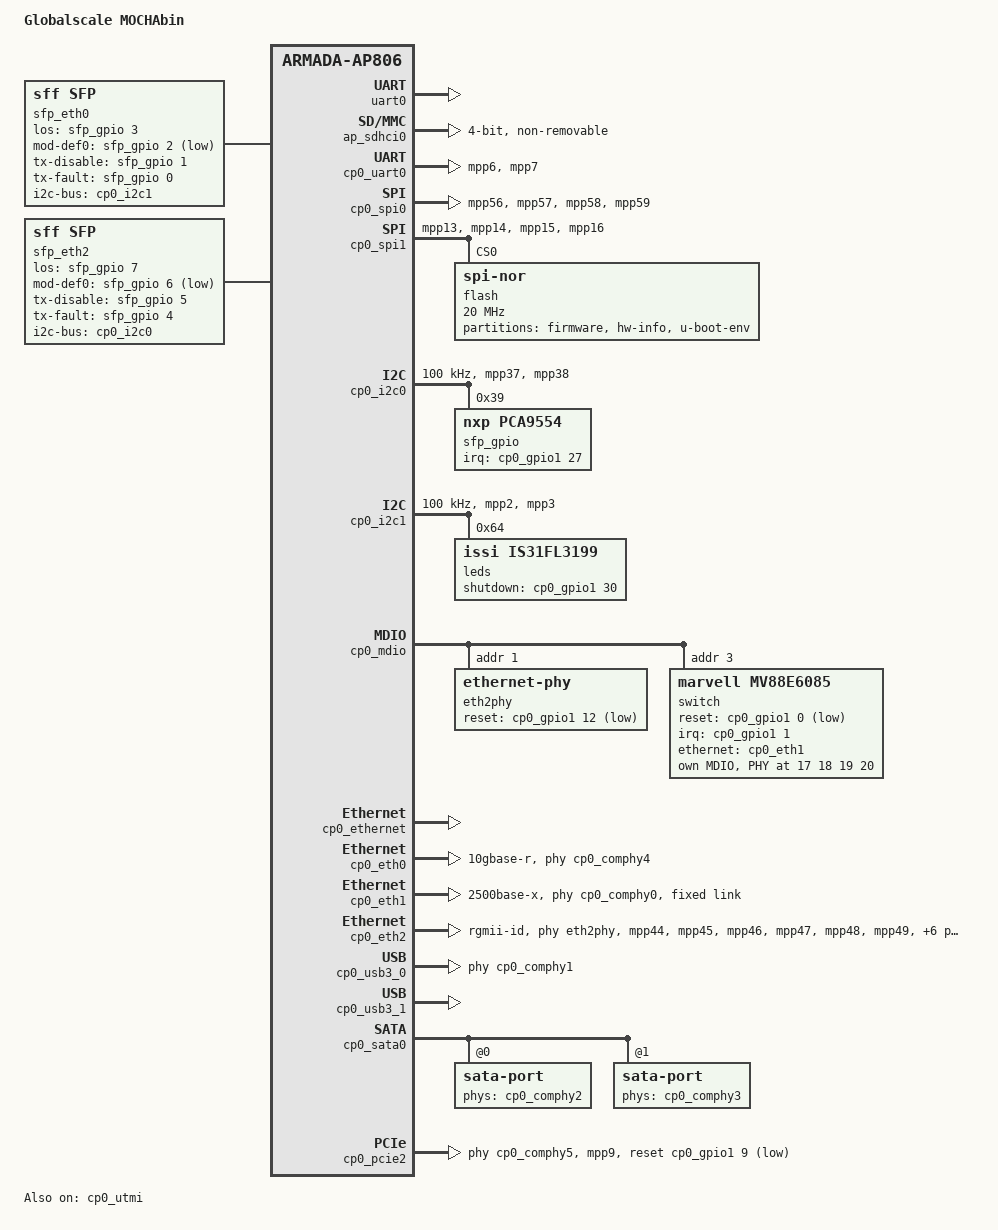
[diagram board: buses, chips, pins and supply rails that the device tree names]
// SPDX-License-Identifier: GPL-2.0-or-later OR MIT
/*
 * Device Tree file for Globalscale MOCHAbin
 * Copyright (C) 2019 Globalscale technologies, Inc.
 * Copyright (C) 2021 Sartura Ltd.
 *
 */

/dts-v1/;

#include <dt-bindings/gpio/gpio.h>
#include "armada-7040.dtsi"

/ {
	model = "Globalscale MOCHAbin";
	compatible = "globalscale,mochabin", "marvell,armada7040",
		     "marvell,armada-ap806-quad", "marvell,armada-ap806";

	chosen {
		stdout-path = "serial0:115200n8";
	};

	aliases {
		ethernet0 = &cp0_eth0;
		ethernet1 = &cp0_eth1;
		ethernet2 = &cp0_eth2;
		ethernet3 = &swport1;
		ethernet4 = &swport2;
		ethernet5 = &swport3;
		ethernet6 = &swport4;
	};

	/* SFP+ 10G */
	sfp_eth0: sfp-eth0 {
		compatible = "sff,sfp";
		i2c-bus = <&cp0_i2c1>;
		los-gpios = <&sfp_gpio 3 GPIO_ACTIVE_HIGH>;
		mod-def0-gpios = <&sfp_gpio 2 GPIO_ACTIVE_LOW>;
		tx-disable-gpios = <&sfp_gpio 1 GPIO_ACTIVE_HIGH>;
		tx-fault-gpios = <&sfp_gpio 0 GPIO_ACTIVE_HIGH>;
	};

	/* SFP 1G */
	sfp_eth2: sfp-eth2 {
		compatible = "sff,sfp";
		i2c-bus = <&cp0_i2c0>;
		los-gpios = <&sfp_gpio 7 GPIO_ACTIVE_HIGH>;
		mod-def0-gpios = <&sfp_gpio 6 GPIO_ACTIVE_LOW>;
		tx-disable-gpios = <&sfp_gpio 5 GPIO_ACTIVE_HIGH>;
		tx-fault-gpios = <&sfp_gpio 4 GPIO_ACTIVE_HIGH>;
	};
};

/* microUSB UART console */
&uart0 {
	status = "okay";

	pinctrl-0 = <&uart0_pins>;
	pinctrl-names = "default";
};

/* eMMC */
&ap_sdhci0 {
	status = "okay";

	bus-width = <4>;
	non-removable;
	/delete-property/ marvell,xenon-phy-slow-mode;
	no-1-8-v;
};

&cp0_pinctrl {
	cp0_uart0_pins: cp0-uart0-pins {
		marvell,pins = "mpp6", "mpp7";
		marvell,function = "uart0";
	};

	cp0_spi0_pins: cp0-spi0-pins {
		marvell,pins = "mpp56", "mpp57", "mpp58", "mpp59";
		marvell,function = "spi0";
	};

	cp0_spi1_pins: cp0-spi1-pins {
		marvell,pins = "mpp13", "mpp14", "mpp15", "mpp16";
		marvell,function = "spi1";
	};

	cp0_i2c0_pins: cp0-i2c0-pins {
		marvell,pins = "mpp37", "mpp38";
		marvell,function = "i2c0";
	};

	cp0_i2c1_pins: cp0-i2c1-pins {
		marvell,pins = "mpp2", "mpp3";
		marvell,function = "i2c1";
	};

	pca9554_int_pins: pca9554-int-pins {
		marvell,pins = "mpp27";
		marvell,function = "gpio";
	};

	cp0_rgmii1_pins: cp0-rgmii1-pins {
		marvell,pins = "mpp44", "mpp45", "mpp46", "mpp47", "mpp48", "mpp49",
			       "mpp50", "mpp51", "mpp52", "mpp53", "mpp54", "mpp55";
		marvell,function = "ge1";
	};

	is31_sdb_pins: is31-sdb-pins {
		marvell,pins = "mpp30";
		marvell,function = "gpio";
	};

	cp0_pcie_reset_pins: cp0-pcie-reset-pins {
		marvell,pins = "mpp9";
		marvell,function = "gpio";
	};

	cp0_pcie_clkreq_pins: cp0-pcie-clkreq-pins {
		marvell,pins = "mpp5";
		marvell,function = "pcie1";
	};

	cp0_switch_pins: cp0-switch-pins {
		marvell,pins = "mpp0", "mpp1";
		marvell,function = "gpio";
	};

	cp0_phy_pins: cp0-phy-pins {
		marvell,pins = "mpp12";
		marvell,function = "gpio";
	};
};

/* mikroBUS UART */
&cp0_uart0 {
	status = "okay";

	pinctrl-names = "default";
	pinctrl-0 = <&cp0_uart0_pins>;
};

/* mikroBUS SPI */
&cp0_spi0 {
	status = "okay";

	pinctrl-names = "default";
	pinctrl-0 = <&cp0_spi0_pins>;
};

/* SPI-NOR */
&cp0_spi1 {
	status = "okay";

	pinctrl-names = "default";
	pinctrl-0 = <&cp0_spi1_pins>;

	flash@0 {
		#address-cells = <1>;
		#size-cells = <1>;
		compatible = "jedec,spi-nor";
		reg = <0>;
		spi-max-frequency = <20000000>;

		partitions {
			compatible = "fixed-partitions";
			#address-cells = <1>;
			#size-cells = <1>;

			partition@0 {
				label = "firmware";
				reg = <0x0 0x3e0000>;
				read-only;
			};

			partition@3e0000 {
				label = "hw-info";
				reg = <0x3e0000 0x10000>;
				read-only;
			};

			partition@3f0000 {
				label = "u-boot-env";
				reg = <0x3f0000 0x10000>;
			};
		};
	};
};

/* mikroBUS, 1G SFP and GPIO expander */
&cp0_i2c0 {
	status = "okay";

	pinctrl-names = "default";
	pinctrl-0 = <&cp0_i2c0_pins>;
	clock-frequency = <100000>;

	sfp_gpio: pca9554@39 {
		compatible = "nxp,pca9554";
		pinctrl-names = "default";
		pinctrl-0 = <&pca9554_int_pins>;
		reg = <0x39>;

		interrupt-parent = <&cp0_gpio1>;
		interrupts = <27 IRQ_TYPE_LEVEL_LOW>;
		interrupt-controller;
		#interrupt-cells = <2>;

		gpio-controller;
		#gpio-cells = <2>;

		/*
		 * IO0_0: SFP+_TX_FAULT
		 * IO0_1: SFP+_TX_DISABLE
		 * IO0_2: SFP+_PRSNT
		 * IO0_3: SFP+_LOSS
		 * IO0_4: SFP_TX_FAULT
		 * IO0_5: SFP_TX_DISABLE
		 * IO0_6: SFP_PRSNT
		 * IO0_7: SFP_LOSS
		 */
	};
};

/* IS31FL3199, mini-PCIe and 10G SFP+ */
&cp0_i2c1 {
	status = "okay";

	pinctrl-names = "default";
	pinctrl-0 = <&cp0_i2c1_pins>;
	clock-frequency = <100000>;

	leds@64 {
		compatible = "issi,is31fl3199";
		#address-cells = <1>;
		#size-cells = <0>;
		pinctrl-names = "default";
		pinctrl-0 = <&is31_sdb_pins>;
		shutdown-gpios = <&cp0_gpio1 30 GPIO_ACTIVE_HIGH>;
		reg = <0x64>;

		led1_red: led@1 {
			label = "red:led1";
			reg = <1>;
			led-max-microamp = <20000>;
		};

		led1_green: led@2 {
			label = "green:led1";
			reg = <2>;
		};

		led1_blue: led@3 {
			label = "blue:led1";
			reg = <3>;
		};

		led2_red: led@4 {
			label = "red:led2";
			reg = <4>;
		};

		led2_green: led@5 {
			label = "green:led2";
			reg = <5>;
		};

		led2_blue: led@6 {
			label = "blue:led2";
			reg = <6>;
		};

		led3_red: led@7 {
			label = "red:led3";
			reg = <7>;
		};

		led3_green: led@8 {
			label = "green:led3";
			reg = <8>;
		};

		led3_blue: led@9 {
			label = "blue:led3";
			reg = <9>;
		};
	};
};

&cp0_mdio {
	status = "okay";

	/* 88E1512 PHY */
	eth2phy: ethernet-phy@1 {
		reg = <1>;
		sfp = <&sfp_eth2>;

		pinctrl-names = "default";
		pinctrl-0 = <&cp0_phy_pins>;
		reset-gpios = <&cp0_gpio1 12 GPIO_ACTIVE_LOW>;
	};

	/* 88E6141 Topaz switch */
	switch: ethernet-switch@3 {
		compatible = "marvell,mv88e6085";
		reg = <3>;

		pinctrl-names = "default";
		pinctrl-0 = <&cp0_switch_pins>;
		reset-gpios = <&cp0_gpio1 0 GPIO_ACTIVE_LOW>;

		interrupt-parent = <&cp0_gpio1>;
		interrupts = <1 IRQ_TYPE_LEVEL_LOW>;

		ethernet-ports {
			#address-cells = <1>;
			#size-cells = <0>;

			swport1: ethernet-port@1 {
				reg = <1>;
				label = "lan0";
				phy-handle = <&swphy1>;
			};

			swport2: ethernet-port@2 {
				reg = <2>;
				label = "lan1";
				phy-handle = <&swphy2>;
			};

			swport3: ethernet-port@3 {
				reg = <3>;
				label = "lan2";
				phy-handle = <&swphy3>;
			};

			swport4: ethernet-port@4 {
				reg = <4>;
				label = "lan3";
				phy-handle = <&swphy4>;
			};

			ethernet-port@5 {
				reg = <5>;
				label = "cpu";
				ethernet = <&cp0_eth1>;
				phy-mode = "2500base-x";
				managed = "in-band-status";
			};
		};

		mdio {
			#address-cells = <1>;
			#size-cells = <0>;

			swphy1: ethernet-phy@17 {
				reg = <17>;
			};

			swphy2: ethernet-phy@18 {
				reg = <18>;
			};

			swphy3: ethernet-phy@19 {
				reg = <19>;
			};

			swphy4: ethernet-phy@20 {
				reg = <20>;
			};
		};
	};
};

&cp0_ethernet {
	status = "okay";
};

/* 10G SFP+ */
&cp0_eth0 {
	status = "okay";

	phy-mode = "10gbase-r";
	phys = <&cp0_comphy4 0>;
	managed = "in-band-status";
	sfp = <&sfp_eth0>;
};

/* Topaz switch uplink */
&cp0_eth1 {
	status = "okay";

	phy-mode = "2500base-x";
	phys = <&cp0_comphy0 1>;

	fixed-link {
		speed = <2500>;
		full-duplex;
	};
};

/* 1G SFP or 1G RJ45 */
&cp0_eth2 {
	status = "okay";

	pinctrl-names = "default";
	pinctrl-0 = <&cp0_rgmii1_pins>;

	phy = <&eth2phy>;
	phy-mode = "rgmii-id";
};

&cp0_utmi {
	status = "okay";
};

/* SMSC USB5434B hub */
&cp0_usb3_0 {
	status = "okay";

	phys = <&cp0_comphy1 0>, <&cp0_utmi0>;
	phy-names = "cp0-usb3h0-comphy", "utmi";
};

/* miniPCI-E USB */
&cp0_usb3_1 {
	status = "okay";
};

&cp0_sata0 {
	status = "okay";

	/* 7 + 12 SATA connector (J24) */
	sata-port@0 {
		phys = <&cp0_comphy2 0>;
		status = "okay";
	};

	/* M.2-2250 B-key (J39) */
	sata-port@1 {
		phys = <&cp0_comphy3 1>;
		status = "okay";
	};
};

/* miniPCI-E (J5) */
&cp0_pcie2 {
	status = "okay";

	pinctrl-names = "default", "clkreq";
	pinctrl-0 = <&cp0_pcie_reset_pins>;
	pinctrl-1 = <&cp0_pcie_clkreq_pins>;
	phys = <&cp0_comphy5 2>;
	phy-names = "cp0-pcie2-x1-phy";
	reset-gpios = <&cp0_gpio1 9 GPIO_ACTIVE_LOW>;
	ranges = <0x82000000 0x0 0xc0000000 0x0 0xc0000000 0x0 0x8000000>;
};
